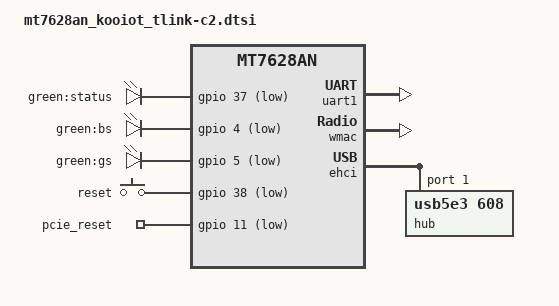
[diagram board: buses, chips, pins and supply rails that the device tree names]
#include "mt7628an.dtsi"

#include <dt-bindings/gpio/gpio.h>
#include <dt-bindings/input/input.h>

/ {
	compatible = "kooiot,tlink-c2", "mediatek,mt7628an-soc";

	aliases {
		led-boot = &led_status;
		led-failsafe = &led_status;
		led-upgrade = &led_status;
		serial1 = &uart1;
		serial2 = &usb_serial;
	};

	chosen {
		bootargs = "console=ttyS0,57600";
	};

	leds: leds {
		compatible = "gpio-leds";

		/* WLED_AN function is not GPIO. So it will not be mapped to leds
		led_wifi: wifi {
			label = "green:wifi";
			gpios = <&gpio 44 GPIO_ACTIVE_LOW>;
		};
		*/

		led_status: status {
			label = "green:status";
			gpios = <&gpio 37 GPIO_ACTIVE_LOW>;
			linux,default-trigger = "heartbeat";
		};

		bs {
			label = "green:bs";
			gpios = <&gpio 4 GPIO_ACTIVE_LOW>;
		};

		gs {
			label = "green:gs";
			gpios = <&gpio 5 GPIO_ACTIVE_LOW>;
		};
	};

	keys {
		compatible = "gpio-keys";

		/*
		wps {
			label = "wps";
			gpios = <&gpio 38 GPIO_ACTIVE_LOW>;
			linux,code = <KEY_WPS_BUTTON>;
		};
		*/

		reset {
			label = "reset";
			gpios = <&gpio 38 GPIO_ACTIVE_LOW>;
			linux,code = <KEY_RESTART>;
		};
	};

	gpio_export: gpio-export {
		compatible = "gpio-export";
		#size-cells = <0>;

		pcie_reset {
			gpio-export,name = "pcie_reset";
			gpio-export,output = <1>;
			gpios = <&gpio 11 GPIO_ACTIVE_LOW>;
		};
	};

	nvmem_sysc: eeprom@10000000 {
		compatible = "ralink,nvmem-mt7688-sysc";
		#address-cells = <1>;
		#size-cells = <0>;

		ralink,nvmem-size = <0x80>;
		ralink,nvmem-writable;
		/* Data cells */
		agpio: agpio@3c {
			reg = <0x3c 0x04>;
		};
		gpio1: gpio1@60 {
			reg = <0x60 0x04>;
		};
		gpio2: gpio2@64 {
			reg = <0x64 0x04>;
		};
	};
};

&state_default {
	gpio {
		groups = "gpio", "wdt", "refclk", "i2c";
		function = "gpio";
	};

	wled_an {
		groups = "wled_an";
		function = "wled_an";
	};

	p0led_an {
		groups = "p0led_an";
		function = "p0led_an";
	};

	p1led_an {
		groups = "p1led_an";
		function = "p1led_an";
	};

	p2led_an {
		groups = "p2led_an";
		function = "p2led_an";
	};

	p3led_an {
		groups = "p3led_an";
		function = "p3led_an";
	};

	p4led_an {
		groups = "p4led_an";
		function = "p4led_an";
	};
};

&uart1 {
	status = "okay";
};

&ethernet {
	mtd-mac-address = <&factory 0x28>;
};

&wmac {
	status = "okay";
};

&ehci {
	hub@1 {
		compatible = "usb5e3,608";
		reg = <1>;
		#address-cells = <1>;
		#size-cells = <0>;

		usb_serial: cp210x@2 {
			reg = <2>;
		};
	};
};
